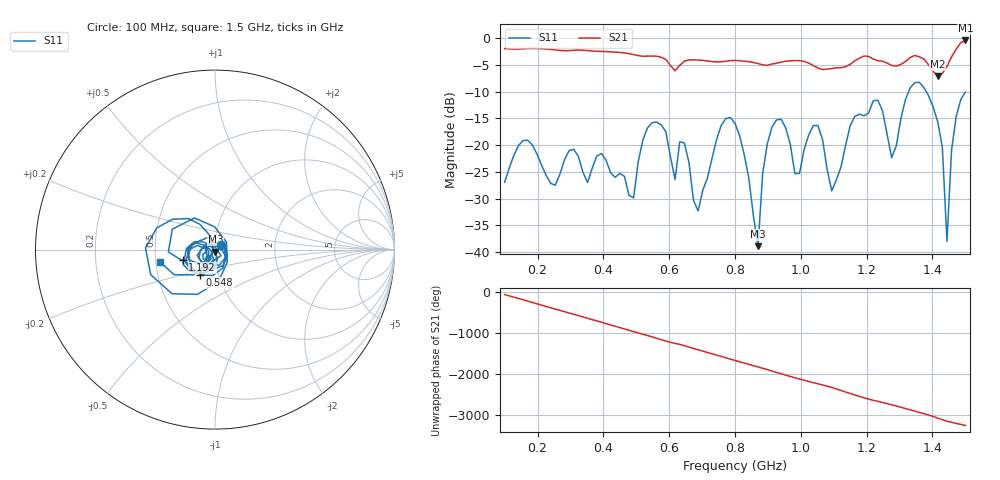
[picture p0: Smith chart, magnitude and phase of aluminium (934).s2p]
! NanoVNA-App
! Date: 2025-09-25 15:02:33
! Start: 100MHz Stop: 1,5GHz Points: 101
! S-Parameter data: F S11 S21 S12 S22
# Hz S RI R 50
!  Frequency  S11_Real  S11_Imag  S21_Real  S21_Imag  S12_Real  S12_Imag  S22_Real  S22_Imag
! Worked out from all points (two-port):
!   101 points, 100 MHz to 1.5 GHz, reference 50 ohm
!   highest |S21| = -0.40 dB at 1.5 GHz (marker M1); lowest = -7.1 dB at 1.416 GHz (marker M2)
!   |S21| within 3 dB of the highest: start of sweep to 565.4 MHz; 1.459 GHz to end of sweep (the widest 2 of 4)
!   lowest |S11| = -38.9 dB at 870 MHz (marker M3), VSWR 1.02, Z = 50.2 - j1.12 ohm
!   |S11| at or under -10 dB: start of sweep to 1.327 GHz; 1.381 GHz to end of sweep
!   S12 and S22 are empty: the file has one direction only
!   S11 on the Smith chart (normalised r, x): 100 MHz: 1.07, +0.06; 548 MHz: 0.82, -0.24; 1.192 GHz: 0.69, -0.08; 1.5 GHz: 0.53, -0.08
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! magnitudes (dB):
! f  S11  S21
! 100 MHz  -27.0  -1.9
! 156 MHz  -19.1  -2.0
! 338 MHz  -25.1  -2.2
! 492 MHz  -29.8  -3.1
! 548 MHz  -15.8  -3.3
! 576 MHz  -16.2  -3.6
! 646 MHz  -19.6  -4.3
! 688 MHz  -32.3  -4.1
! 800 MHz  -15.9  -4.1
! 870 MHz  -38.9  -4.7
! 912 MHz  -16.7  -4.8
! 982 MHz  -25.3  -4.2
! 1.038 GHz  -16.3  -5.1
! 1.094 GHz  -28.6  -5.7
! 1.192 GHz  -14.5  -3.3
! 1.234 GHz  -11.6  -4.2
! 1.276 GHz  -22.4  -5.1
! 1.346 GHz  -8.3  -3.2
! 1.416 GHz  -15.6  -7.1
! 1.444 GHz  -38.0  -5.3
! 1.458 GHz  -20.9  -3.5
! 1.5 GHz  -10.1  -0.4
